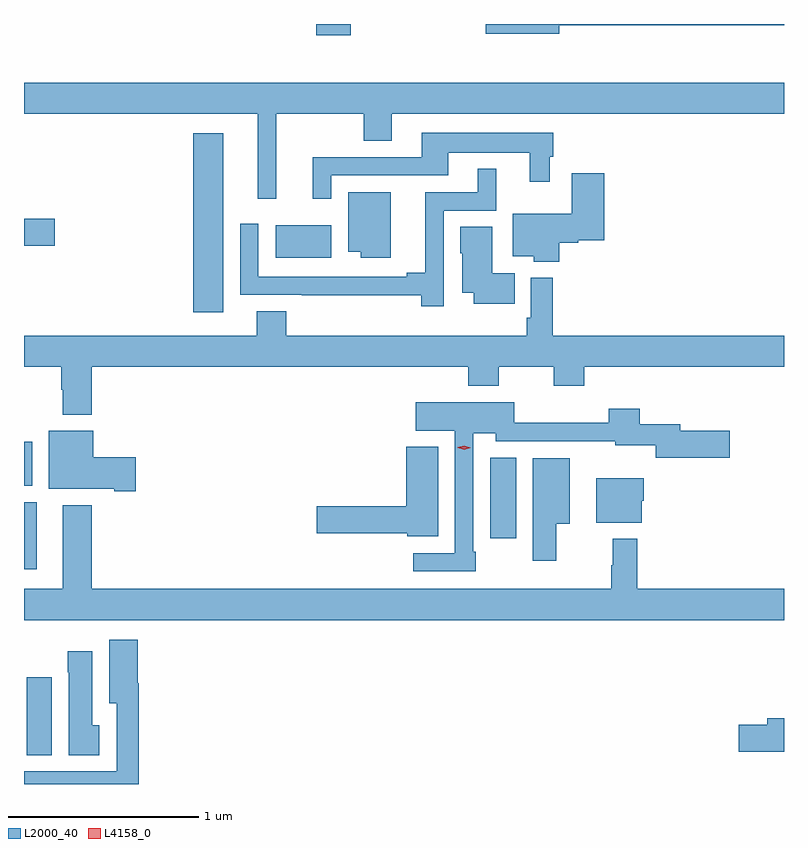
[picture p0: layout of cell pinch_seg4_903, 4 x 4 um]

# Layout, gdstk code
import gdstk
lib = gdstk.Library(unit=1e-6, precision=1e-09)
def R(c, l, rs):  # rectangles x0, y0, x1, y1
    for r in rs: c.add(gdstk.rectangle(r[:2], r[2:], *l))
def P(c, l, *ps):  # polygons
    for p in ps: c.add(gdstk.Polygon(p, *l))
L2000_40 = (2000, 40)
L4158_0 = (4158, 0)

pinch_seg4_903 = lib.new_cell('pinch_seg4_903')
R(pinch_seg4_903, L2000_40, [(706.376,820.084,706.507,820.495), (706.362,821.064,706.429,821.416), (708.815,821.226,708.952,821.651), (706.362,821.504,706.405,821.734), (707.252,822.417,707.41,823.357), (707.687,822.704,707.98,822.874), (706.362,822.766,706.525,822.908), (707.9,823.875,708.083,823.933)])
P(pinch_seg4_903, L2000_40, [(709.18,823.926),(710.362,823.926),(710.362,823.933),(708.792,823.933),(708.792,823.883),(709.18,823.883)],
  [(707.69,823.46),(708.151,823.46),(708.151,823.318),(708.298,823.318),(708.298,823.46),(710.362,823.46),(710.362,823.624),(706.362,823.624),(706.362,823.46),(707.591,823.46),(707.591,823.014),(707.69,823.014)],
  [(707.979,823.137),(708.595,823.137),(708.595,823.256),(709.025,823.256),(709.025,823.104),(709.129,823.104),(709.129,823.234),(709.147,823.234),(709.147,823.36),(708.455,823.36),(708.455,823.233),(707.882,823.233),(707.882,823.014),(707.979,823.014)],
  [(708.57,822.951),(708.847,822.951),(708.847,823.171),(708.749,823.171),(708.749,823.047),(708.473,823.047),(708.473,822.623),(708.377,822.623),(708.377,822.603),(707.595,822.603),(707.595,822.883),(707.499,822.883),(707.499,822.507),(707.824,822.507),(707.824,822.506),(708.454,822.506),(708.454,822.447),(708.57,822.447)],
  [(709.178,822.782),(709.28,822.782),(709.28,822.794),(709.415,822.794),(709.415,823.147),(709.244,823.147),(709.244,822.934),(708.935,822.934),(708.935,822.71),(709.044,822.71),(709.044,822.683),(709.178,822.683)],
  [(708.292,823.048),(708.068,823.048),(708.068,822.734),(708.134,822.734),(708.134,822.704),(708.292,822.704)],
  [(708.944,822.622),(708.826,822.622),(708.826,822.866),(708.659,822.866),(708.659,822.726),(708.668,822.726),(708.668,822.518),(708.728,822.518),(708.728,822.461),(708.944,822.461)],
  [(706.718,822.128),(708.701,822.128),(708.701,822.029),(708.861,822.029),(708.861,822.128),(709.15,822.128),(709.15,822.029),(709.31,822.029),(709.31,822.128),(710.362,822.128),(710.362,822.292),(709.145,822.292),(709.145,822.598),(709.029,822.598),(709.029,822.388),(709.009,822.388),(709.009,822.292),(707.741,822.292),(707.741,822.422),(707.588,822.422),(707.588,822.292),(706.362,822.292),(706.362,822.128),(706.558,822.128),(706.558,822.008),(706.565,822.008),(706.565,821.876),(706.718,821.876)],
  [(708.739,821.155),(708.726,821.155),(708.726,821.78),(708.846,821.78),(708.846,821.736),(709.473,821.736),(709.473,821.717),(709.688,821.717),(709.688,821.651),(710.077,821.651),(710.077,821.793),(709.816,821.793),(709.816,821.827),(709.604,821.827),(709.604,821.908),(709.439,821.908),(709.439,821.834),(708.942,821.834),(708.942,821.941),(708.423,821.941),(708.423,821.792),(708.63,821.792),(708.63,821.148),(708.411,821.148),(708.411,821.052),(708.739,821.052)],
  [(706.951,821.652),(706.726,821.652),(706.726,821.791),(706.493,821.791),(706.493,821.486),(706.838,821.486),(706.838,821.474),(706.951,821.474)],
  [(708.541,821.707),(708.374,821.707),(708.374,821.396),(707.904,821.396),(707.904,821.254),(708.378,821.254),(708.378,821.237),(708.541,821.237)],
  [(709.162,821.303),(709.234,821.303),(709.234,821.647),(709.04,821.647),(709.04,821.109),(709.162,821.109)],
  [(709.612,821.424),(709.624,821.424),(709.624,821.542),(709.373,821.542),(709.373,821.309),(709.612,821.309)],
  [(710.362,820.96),(709.589,820.96),(709.589,821.224),(709.461,821.224),(709.461,821.084),(709.453,821.084),(709.453,820.96),(706.718,820.96),(706.718,821.401),(706.565,821.401),(706.565,820.96),(706.362,820.96),(706.362,820.796),(710.362,820.796)],
  [(706.967,820.462),(706.961,820.462),(706.961,820.693),(706.811,820.693),(706.811,820.358),(706.851,820.358),(706.851,819.999),(706.362,819.999),(706.362,819.933),(706.967,819.933)],
  [(706.759,820.241),(706.72,820.241),(706.72,820.633),(706.591,820.633),(706.591,820.52),(706.598,820.52),(706.598,820.084),(706.759,820.084)],
  [(710.362,820.28),(710.273,820.28),(710.273,820.244),(710.124,820.244),(710.124,820.102),(710.362,820.102)])
P(pinch_seg4_903, L4158_0, [(708.679,821.693),(708.644,821.704),(708.644,821.705),(708.644,821.705),(708.679,821.713),(708.714,821.702),(708.714,821.702),(708.714,821.702)])

lib.write_gds('pinch_seg4_903.gds')
